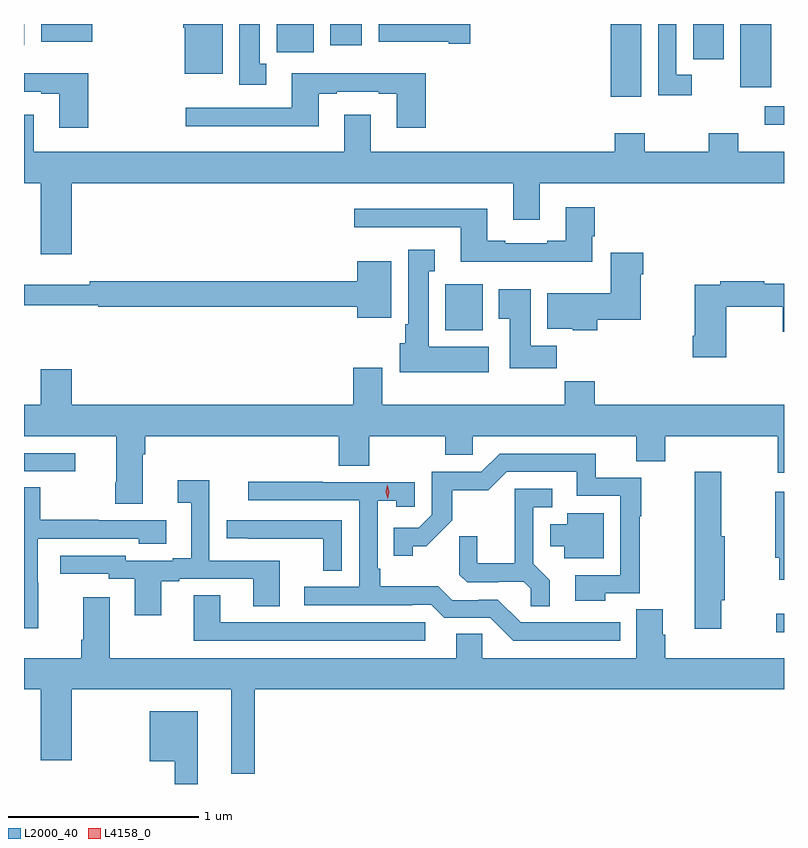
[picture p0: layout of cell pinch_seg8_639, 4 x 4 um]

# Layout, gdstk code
import gdstk
lib = gdstk.Library(unit=1e-6, precision=1e-09)
def R(c, l, rs):  # rectangles x0, y0, x1, y1
    for r in rs: c.add(gdstk.rectangle(r[:2], r[2:], *l))
def P(c, l, *ps):  # polygons
    for p in ps: c.add(gdstk.Polygon(p, *l))
L2000_40 = (2000, 40)
L4158_0 = (4158, 0)

pinch_seg8_639 = lib.new_cell('pinch_seg8_639')
R(pinch_seg8_639, L2000_40, [(348.699,1095.488,348.741,1095.585), (344.741,1096.335,345.01,1096.431), (346.958,1097.078,347.155,1097.32), (348.639,1098.158,348.741,1098.255), (347.828,1098.306,347.989,1098.689), (348.512,1098.356,348.673,1098.689), (348.263,1098.504,348.424,1098.689), (346.071,1098.54,346.267,1098.689), (344.741,1098.576,344.743,1098.689), (346.352,1098.576,346.519,1098.689), (344.831,1098.596,345.1,1098.689)])
P(pinch_seg8_639, L2000_40, [(345.787,1098.689),(345.58,1098.689),(345.58,1098.668),(345.587,1098.668),(345.587,1098.428),(345.787,1098.428)],
  [(346.015,1098.481),(345.982,1098.481),(345.982,1098.689),(345.875,1098.689),(345.875,1098.369),(346.015,1098.369)],
  [(347.089,1098.689),(346.607,1098.689),(346.607,1098.596),(346.976,1098.596),(346.976,1098.584),(347.089,1098.584)],
  [(348.256,1098.423),(348.174,1098.423),(348.174,1098.689),(348.078,1098.689),(348.078,1098.315),(348.256,1098.315)],
  [(346.856,1098.43),(346.151,1098.43),(346.151,1098.249),(345.591,1098.249),(345.591,1098.152),(346.291,1098.152),(346.291,1098.321),(346.387,1098.321),(346.387,1098.333),(346.607,1098.333),(346.607,1098.321),(346.703,1098.321),(346.703,1098.144),(346.856,1098.144)],
  [(345.08,1098.43),(344.741,1098.43),(344.741,1098.333),(344.831,1098.333),(344.831,1098.321),(344.927,1098.321),(344.927,1098.144),(345.08,1098.144)],
  [(344.992,1097.852),(347.315,1097.852),(347.315,1097.658),(347.455,1097.658),(347.455,1097.852),(348.741,1097.852),(348.741,1098.016),(348.501,1098.016),(348.501,1098.115),(348.346,1098.115),(348.346,1098.016),(348.009,1098.016),(348.009,1098.115),(347.849,1098.115),(347.849,1098.016),(346.567,1098.016),(346.567,1098.211),(346.427,1098.211),(346.427,1098.016),(344.791,1098.016),(344.791,1098.211),(344.741,1098.211),(344.741,1097.852),(344.828,1097.852),(344.828,1097.478),(344.992,1097.478)],
  [(347.731,1097.572),(347.744,1097.572),(347.744,1097.725),(347.591,1097.725),(347.591,1097.548),(347.495,1097.548),(347.495,1097.535),(347.275,1097.535),(347.275,1097.548),(347.179,1097.548),(347.179,1097.716),(346.479,1097.716),(346.479,1097.619),(347.039,1097.619),(347.039,1097.438),(347.731,1097.438)],
  [(347.188,1096.99),(346.87,1096.99),(346.87,1097.387),(346.903,1097.387),(346.903,1097.5),(346.763,1097.5),(346.763,1097.11),(346.748,1097.11),(346.748,1097.01),(346.718,1097.01),(346.718,1096.856),(347.188,1096.856)],
  [(347.759,1097.132),(347.986,1097.132),(347.986,1097.372),(347.999,1097.372),(347.999,1097.485),(347.828,1097.485),(347.828,1097.272),(347.495,1097.272),(347.495,1097.084),(347.628,1097.084),(347.628,1097.078),(347.759,1097.078)],
  [(346.675,1097.44),(346.496,1097.44),(346.496,1097.336),(345.088,1097.336),(345.088,1097.317),(344.741,1097.317),(344.741,1097.208),(345.132,1097.208),(345.132,1097.2),(346.496,1097.2),(346.496,1097.144),(346.675,1097.144)],
  [(348.438,1097.2),(348.734,1097.2),(348.734,1097.069),(348.741,1097.069),(348.741,1097.323),(348.638,1097.323),(348.638,1097.336),(348.406,1097.336),(348.406,1097.316),(348.272,1097.316),(348.272,1097.047),(348.26,1097.047),(348.26,1096.935),(348.438,1096.935)],
  [(347.546,1096.996),(347.407,1096.996),(347.407,1097.293),(347.24,1097.293),(347.24,1097.137),(347.297,1097.137),(347.297,1096.878),(347.546,1096.878)],
  [(345.367,1096.424),(345.38,1096.424),(345.38,1096.52),(346.397,1096.52),(346.397,1096.363),(346.557,1096.363),(346.557,1096.52),(346.957,1096.52),(346.957,1096.422),(347.103,1096.422),(347.103,1096.52),(347.963,1096.52),(347.963,1096.387),(348.116,1096.387),(348.116,1096.52),(348.707,1096.52),(348.707,1096.326),(348.741,1096.326),(348.741,1096.684),(347.744,1096.684),(347.744,1096.808),(347.587,1096.808),(347.587,1096.684),(346.627,1096.684),(346.627,1096.879),(346.475,1096.879),(346.475,1096.684),(344.992,1096.684),(344.992,1096.873),(344.828,1096.873),(344.828,1096.684),(344.741,1096.684),(344.741,1096.52),(345.227,1096.52),(345.227,1096.276),(345.22,1096.276),(345.22,1096.164),(345.367,1096.164)],
  [(347.799,1095.693),(347.981,1095.693),(347.981,1096.099),(347.989,1096.099),(347.989,1096.302),(347.75,1096.302),(347.75,1096.428),(347.244,1096.428),(347.148,1096.332),(346.887,1096.332),(346.887,1096.107),(346.818,1096.038),(346.687,1096.038),(346.687,1095.891),(346.788,1095.891),(346.788,1095.941),(346.858,1095.941),(346.996,1096.078),(346.996,1096.234),(347.185,1096.234),(347.283,1096.332),(347.651,1096.332),(347.651,1096.206),(347.88,1096.206),(347.88,1095.789),(347.643,1095.789),(347.643,1095.653),(347.799,1095.653)],
  [(348.412,1095.657),(348.43,1095.657),(348.43,1095.993),(348.412,1095.993),(348.412,1096.333),(348.271,1096.333),(348.271,1095.993),(348.272,1095.993),(348.272,1095.507),(348.412,1095.507)],
  [(345.463,1095.756),(345.559,1095.756),(345.559,1095.768),(345.947,1095.768),(345.947,1095.625),(346.087,1095.625),(346.087,1095.864),(345.717,1095.864),(345.717,1096.288),(345.549,1096.288),(345.549,1096.168),(345.62,1096.168),(345.62,1095.877),(345.524,1095.877),(345.524,1095.864),(345.276,1095.864),(345.276,1095.891),(344.931,1095.891),(344.931,1095.795),(345.186,1095.795),(345.186,1095.768),(345.323,1095.768),(345.323,1095.576),(345.463,1095.576)],
  [(347.878,1095.54),(347.355,1095.54),(347.235,1095.66),(347.134,1095.66),(347.134,1095.657),(346.995,1095.657),(346.922,1095.73),(346.615,1095.73),(346.615,1095.823),(346.602,1095.823),(346.602,1096.181),(346.701,1096.181),(346.701,1096.149),(346.797,1096.149),(346.797,1096.278),(346.313,1096.278),(346.313,1096.281),(345.921,1096.281),(345.921,1096.182),(346.506,1096.182),(346.506,1095.726),(346.215,1095.726),(346.215,1095.63),(346.784,1095.63),(346.784,1095.633),(346.884,1095.633),(346.953,1095.564),(347.196,1095.564),(347.316,1095.444),(347.878,1095.444)],
  [(344.817,1095.749),(344.814,1095.749),(344.814,1095.981),(345.345,1095.981),(345.345,1095.953),(345.49,1095.953),(345.49,1096.077),(345.131,1096.077),(345.131,1096.08),(344.827,1096.08),(344.827,1096.25),(344.741,1096.25),(344.741,1095.509),(344.817,1095.509)],
  [(347.507,1095.761),(347.421,1095.847),(347.421,1096.146),(347.521,1096.146),(347.521,1096.242),(347.324,1096.242),(347.324,1095.85),(347.126,1095.85),(347.126,1095.993),(347.032,1095.993),(347.032,1095.791),(347.073,1095.75),(347.238,1095.75),(347.238,1095.753),(347.372,1095.753),(347.409,1095.716),(347.409,1095.625),(347.507,1095.625)],
  [(348.741,1096.228),(348.695,1096.228),(348.695,1095.879),(348.716,1095.879),(348.716,1095.764),(348.741,1095.764)],
  [(347.791,1096.114),(347.6,1096.114),(347.6,1096.057),(347.51,1096.057),(347.51,1095.941),(347.585,1095.941),(347.585,1095.878),(347.791,1095.878)],
  [(346.413,1096.077),(345.807,1096.077),(345.807,1095.982),(345.919,1095.982),(345.919,1095.981),(346.315,1095.981),(346.315,1095.811),(346.413,1095.811)],
  [(346.852,1095.54),(345.775,1095.54),(345.775,1095.683),(345.635,1095.683),(345.635,1095.444),(346.852,1095.444)],
  [(345.955,1095.188),(348.741,1095.188),(348.741,1095.352),(348.116,1095.352),(348.116,1095.474),(348.103,1095.474),(348.103,1095.608),(347.963,1095.608),(347.963,1095.352),(347.154,1095.352),(347.154,1095.479),(347.015,1095.479),(347.015,1095.352),(345.193,1095.352),(345.193,1095.673),(345.053,1095.673),(345.053,1095.448),(345.041,1095.448),(345.041,1095.352),(344.741,1095.352),(344.741,1095.188),(344.828,1095.188),(344.828,1094.814),(344.992,1094.814),(344.992,1095.188),(345.833,1095.188),(345.833,1094.744),(345.955,1094.744)],
  [(345.655,1095.073),(345.404,1095.073),(345.404,1094.81),(345.534,1094.81),(345.534,1094.689),(345.655,1094.689)])
P(pinch_seg8_639, L4158_0, [(346.656,1096.191),(346.656,1096.191),(346.644,1096.226),(346.653,1096.262),(346.653,1096.263),(346.653,1096.262),(346.664,1096.227),(346.656,1096.191)])

lib.write_gds('pinch_seg8_639.gds')
